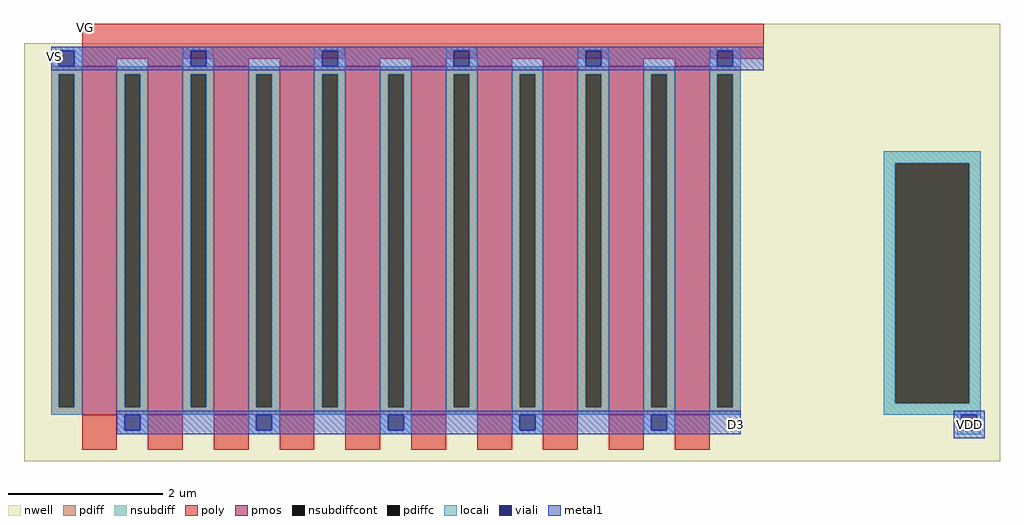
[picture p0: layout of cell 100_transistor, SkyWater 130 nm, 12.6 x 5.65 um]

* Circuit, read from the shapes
.subckt 100_transistor VG VS VDD D3
XM1 D3 VG VS VDD sky130_fd_pr__pfet_01v8 w=4.5 l=0.45 m=10
.ends

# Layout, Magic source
magic
tech sky130A
<< nwell >>
rect 880 95 1185 120
rect -75 -445 1185 95
<< pmos >>
rect 0 -385 45 65
rect 85 -385 130 65
rect 170 -385 215 65
rect 255 -385 300 65
rect 340 -385 385 65
rect 425 -385 470 65
rect 510 -385 555 65
rect 595 -385 640 65
rect 680 -385 725 65
rect 765 -385 810 65
<< pdiff >>
rect -40 55 0 65
rect -40 -375 -30 55
rect -10 -375 0 55
rect -40 -385 0 -375
rect 45 55 85 65
rect 45 -375 55 55
rect 75 -375 85 55
rect 45 -385 85 -375
rect 130 55 170 65
rect 130 -375 140 55
rect 160 -375 170 55
rect 130 -385 170 -375
rect 215 55 255 65
rect 215 -375 225 55
rect 245 -375 255 55
rect 215 -385 255 -375
rect 300 55 340 65
rect 300 -375 310 55
rect 330 -375 340 55
rect 300 -385 340 -375
rect 385 55 425 65
rect 385 -375 395 55
rect 415 -375 425 55
rect 385 -385 425 -375
rect 470 55 510 65
rect 470 -375 480 55
rect 500 -375 510 55
rect 470 -385 510 -375
rect 555 55 595 65
rect 555 -375 565 55
rect 585 -375 595 55
rect 555 -385 595 -375
rect 640 55 680 65
rect 640 -375 650 55
rect 670 -375 680 55
rect 640 -385 680 -375
rect 725 55 765 65
rect 725 -375 735 55
rect 755 -375 765 55
rect 725 -385 765 -375
rect 810 55 850 65
rect 810 -375 820 55
rect 840 -375 850 55
rect 810 -385 850 -375
<< pdiffc >>
rect -30 -375 -10 55
rect 55 -375 75 55
rect 140 -375 160 55
rect 225 -375 245 55
rect 310 -375 330 55
rect 395 -375 415 55
rect 480 -375 500 55
rect 565 -375 585 55
rect 650 -375 670 55
rect 735 -375 755 55
rect 820 -375 840 55
<< nsubdiff >>
rect 1035 -60 1160 -45
rect 1035 -370 1050 -60
rect 1145 -370 1160 -60
rect 1035 -385 1160 -370
<< nsubdiffcont >>
rect 1050 -370 1145 -60
<< poly >>
rect 0 75 880 120
rect 0 65 45 75
rect 85 65 130 75
rect 170 65 215 75
rect 255 65 300 75
rect 340 65 385 75
rect 425 65 470 75
rect 510 65 555 75
rect 595 65 640 75
rect 680 65 725 75
rect 765 65 810 75
rect 0 -430 45 -385
rect 85 -430 130 -385
rect 170 -430 215 -385
rect 255 -430 300 -385
rect 340 -430 385 -385
rect 425 -430 470 -385
rect 510 -430 555 -385
rect 595 -430 640 -385
rect 680 -430 725 -385
rect 765 -430 810 -385
<< locali >>
rect -40 85 0 90
rect -40 65 -30 85
rect -10 65 0 85
rect 130 85 170 90
rect 130 65 140 85
rect 160 65 170 85
rect 300 85 340 90
rect 300 65 310 85
rect 330 65 340 85
rect 470 85 510 90
rect 470 65 480 85
rect 500 65 510 85
rect 640 85 680 90
rect 640 65 650 85
rect 670 65 680 85
rect 810 85 850 90
rect 810 65 820 85
rect 840 65 850 85
rect -40 55 0 65
rect -40 -375 -30 55
rect -10 -375 0 55
rect -40 -385 0 -375
rect 45 55 85 65
rect 45 -375 55 55
rect 75 -375 85 55
rect 45 -385 85 -375
rect 130 55 170 65
rect 130 -375 140 55
rect 160 -375 170 55
rect 130 -385 170 -375
rect 215 55 255 65
rect 215 -375 225 55
rect 245 -375 255 55
rect 215 -385 255 -375
rect 300 55 340 65
rect 300 -375 310 55
rect 330 -375 340 55
rect 300 -385 340 -375
rect 385 55 425 65
rect 385 -375 395 55
rect 415 -375 425 55
rect 385 -385 425 -375
rect 470 55 510 65
rect 470 -375 480 55
rect 500 -375 510 55
rect 470 -385 510 -375
rect 555 55 595 65
rect 555 -375 565 55
rect 585 -375 595 55
rect 555 -385 595 -375
rect 640 55 680 65
rect 640 -375 650 55
rect 670 -375 680 55
rect 640 -385 680 -375
rect 725 55 765 65
rect 725 -375 735 55
rect 755 -375 765 55
rect 725 -385 765 -375
rect 810 55 850 65
rect 810 -375 820 55
rect 840 -375 850 55
rect 810 -385 850 -375
rect 1035 -60 1160 -45
rect 1035 -370 1050 -60
rect 1145 -370 1160 -60
rect 1035 -385 1160 -370
rect 45 -405 55 -385
rect 75 -405 85 -385
rect 45 -410 85 -405
rect 215 -405 225 -385
rect 245 -405 255 -385
rect 215 -410 255 -405
rect 385 -405 395 -385
rect 415 -405 425 -385
rect 385 -410 425 -405
rect 555 -405 565 -385
rect 585 -405 595 -385
rect 555 -410 595 -405
rect 725 -405 735 -385
rect 755 -405 765 -385
rect 725 -410 765 -405
rect 1130 -405 1135 -385
rect 1155 -405 1160 -385
rect 1130 -410 1160 -405
<< viali >>
rect -30 65 -10 85
rect 140 65 160 85
rect 310 65 330 85
rect 480 65 500 85
rect 650 65 670 85
rect 820 65 840 85
rect 55 -405 75 -385
rect 225 -405 245 -385
rect 395 -405 415 -385
rect 565 -405 585 -385
rect 735 -405 755 -385
rect 1135 -405 1155 -385
<< metal1 >>
rect -40 85 880 90
rect -40 65 -30 85
rect -10 65 140 85
rect 160 65 310 85
rect 330 65 480 85
rect 500 65 650 85
rect 670 65 820 85
rect 840 65 880 85
rect -40 60 880 65
rect 45 -385 850 -380
rect 45 -405 55 -385
rect 75 -405 225 -385
rect 245 -405 395 -385
rect 415 -405 565 -385
rect 585 -405 735 -385
rect 755 -405 850 -385
rect 45 -410 850 -405
rect 1125 -385 1165 -380
rect 1125 -405 1135 -385
rect 1155 -405 1165 -385
rect 1125 -415 1165 -405
<< labels >>
rlabel poly 0 110 10 120 7 VG
port 1 w
rlabel metal1 -40 65 -30 90 7 VS
port 2 w
rlabel metal1 s 1130 -410 1160 -385 3 VDD
port 3 e
rlabel metal1 840 -410 850 -385 5 D3
port 6 s
<< end >>
